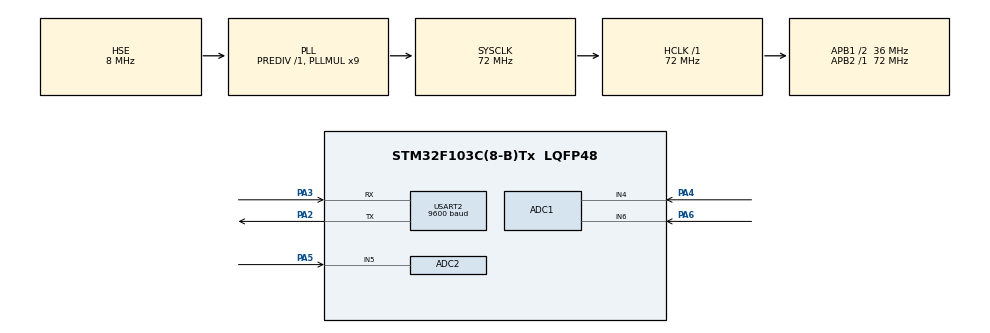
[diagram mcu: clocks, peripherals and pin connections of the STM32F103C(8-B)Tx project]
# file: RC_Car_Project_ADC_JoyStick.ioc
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ADC1.Channel-0\#ChannelRegularConversion=ADC_CHANNEL_5
ADC1.Channel-1\#ChannelRegularConversion=ADC_CHANNEL_4
ADC1.Channel-2\#ChannelRegularConversion=ADC_CHANNEL_6
ADC1.ContinuousConvMode=ENABLE
ADC1.NbrOfConversion=3
ADC1.NbrOfConversionFlag=1
ADC1.Rank-0\#ChannelRegularConversion=1
ADC1.Rank-1\#ChannelRegularConversion=2
ADC1.Rank-2\#ChannelRegularConversion=3
ADC1.SamplingTime-0\#ChannelRegularConversion=ADC_SAMPLETIME_239CYCLES_5
ADC1.SamplingTime-1\#ChannelRegularConversion=ADC_SAMPLETIME_239CYCLES_5
ADC1.SamplingTime-2\#ChannelRegularConversion=ADC_SAMPLETIME_239CYCLES_5
ADC1.master=1
ADC2.Channel-0\#ChannelRegularConversion=ADC_CHANNEL_5
ADC2.ContinuousConvMode=ENABLE
ADC2.NbrOfConversionFlag=1
ADC2.Rank-0\#ChannelRegularConversion=1
ADC2.SamplingTime-0\#ChannelRegularConversion=ADC_SAMPLETIME_239CYCLES_5
Dma.ADC1.0.Direction=DMA_PERIPH_TO_MEMORY
Dma.ADC1.0.Instance=DMA1_Channel1
Dma.ADC1.0.MemDataAlignment=DMA_MDATAALIGN_HALFWORD
Dma.ADC1.0.MemInc=DMA_MINC_ENABLE
Dma.ADC1.0.Mode=DMA_CIRCULAR
Dma.ADC1.0.PeriphDataAlignment=DMA_PDATAALIGN_HALFWORD
Dma.ADC1.0.PeriphInc=DMA_PINC_DISABLE
Dma.ADC1.0.Priority=DMA_PRIORITY_LOW
Dma.Request0=ADC1
Mcu.Family=STM32F1
Mcu.Name=STM32F103C(8-B)Tx
Mcu.Package=LQFP48
NVIC.DMA1_Channel1_IRQn=true\:0\:0\:false\:false\:true\:false\:true\:true
NVIC.PriorityGroup=NVIC_PRIORITYGROUP_4
NVIC.USART2_IRQn=true\:0\:0\:false\:false\:true\:true\:true\:true
PA13.Mode=Serial_Wire
PA13.Signal=SYS_JTMS-SWDIO
PA14.Mode=Serial_Wire
PA14.Signal=SYS_JTCK-SWCLK
PA2.Mode=Asynchronous
PA2.Signal=USART2_TX
PA3.Mode=Asynchronous
PA3.Signal=USART2_RX
PA4.Signal=ADCx_IN4
PA5.Signal=ADCx_IN5
PA6.Signal=ADCx_IN6
PD0-OSC_IN.Mode=HSE-External-Oscillator
PD0-OSC_IN.Signal=RCC_OSC_IN
PD1-OSC_OUT.Mode=HSE-External-Oscillator
PD1-OSC_OUT.Signal=RCC_OSC_OUT
ProjectManager.HeapSize=0x200
ProjectManager.StackSize=0x400
ProjectManager.TargetToolchain=STM32CubeIDE
RCC.ADCPresc=RCC_ADCPCLK2_DIV8
RCC.AHBFreq_Value=72000000
RCC.APB1CLKDivider=RCC_HCLK_DIV2
RCC.APB1Freq_Value=36000000
RCC.APB1TimFreq_Value=72000000
RCC.APB2Freq_Value=72000000
RCC.APB2TimFreq_Value=72000000
RCC.HCLKFreq_Value=72000000
RCC.PLLMUL=RCC_PLL_MUL9
RCC.PLLSourceVirtual=RCC_PLLSOURCE_HSE
RCC.SYSCLKFreq_VALUE=72000000
RCC.SYSCLKSource=RCC_SYSCLKSOURCE_PLLCLK
RCC.USBFreq_Value=72000000
SH.ADCx_IN4.0=ADC1_IN4,IN4
SH.ADCx_IN5.0=ADC2_IN5,IN5
SH.ADCx_IN5.1=ADC1_IN5,IN5
SH.ADCx_IN6.0=ADC1_IN6,IN6
USART2.BaudRate=9600
USART2.VirtualMode=VM_ASYNC
board=custom

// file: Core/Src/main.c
/* USER CODE BEGIN Header */
/**
  ******************************************************************************
  * @file           : main.c
  * @brief          : Main program body
  ******************************************************************************
  * @attention
  *
  * Copyright (c) 2024 STMicroelectronics.
  * All rights reserved.
  *
  * This software is licensed under terms that can be found in the LICENSE file
  * in the root directory of this software component.
  * If no LICENSE file comes with this software, it is provided AS-IS.
  *
  ******************************************************************************
  */
/* USER CODE END Header */
#include "main.h"
#include "adc.h"
#include "dma.h"
#include "usart.h"
#include "gpio.h"

/* USER CODE BEGIN PV */
uint8_t txData[1];
volatile uint16_t joyStick[3];
/* USER CODE END PV */

void SystemClock_Config(void);

int main(void)
{

  /* MCU Configuration--------------------------------------------------------*/

  /* Reset of all peripherals, Initializes the Flash interface and the Systick. */
  HAL_Init();

  /* Configure the system clock */
  SystemClock_Config();

  /* Initialize all configured peripherals */
  MX_GPIO_Init();
  MX_DMA_Init();
  MX_ADC1_Init();
  MX_ADC2_Init();
  MX_USART2_UART_Init();
  /* USER CODE BEGIN 2 */
  HAL_ADC_Start_DMA(&hadc1, joyStick, 3);

  /* USER CODE END 2 */

  /* Infinite loop */
  /* USER CODE BEGIN WHILE */
  while (1)
  {
    HAL_UART_Transmit(&huart2, txData, 1,200);
//    HAL_Delay(500);
//    printf("adc -> LeftX: %d\r\n", joyStick[0]);
//    printf("adc -> RightY : %d\r\n", joyStick[1]);
//    printf("adc -> LeftSW : %d\r\n", joyStick[2]);

     if(joyStick[0] > 1900 && joyStick[0] < 2000)
     {
       txData[0] = 'i';
     }
     if(joyStick[0] > 3000 && joyStick[0] <= 4050)
     {
       txData[0] = 'f';
     }
     if(joyStick[0] >= 0 && joyStick[0] < 1800)
     {
       txData[0] = 'b';
     }
     if(joyStick[1] > 3000 && joyStick[1] <= 4050)
     {
       txData[0] = 'l';
     }
     if(joyStick[1] >= 0 && joyStick[1] < 1800)
     {
       txData[0] = 'r';
     }
     if(joyStick[2] == 0)
     {
       txData[0] = 's';
     }

    /* USER CODE END WHILE */

  }
}

void SystemClock_Config(void)
{
  RCC_OscInitTypeDef RCC_OscInitStruct = {0};
  RCC_ClkInitTypeDef RCC_ClkInitStruct = {0};
  RCC_PeriphCLKInitTypeDef PeriphClkInit = {0};

  /** Initializes the RCC Oscillators according to the specified parameters
  * in the RCC_OscInitTypeDef structure.
  */
  RCC_OscInitStruct.OscillatorType = RCC_OSCILLATORTYPE_HSE;
  RCC_OscInitStruct.HSEState = RCC_HSE_ON;
  RCC_OscInitStruct.HSEPredivValue = RCC_HSE_PREDIV_DIV1;
  RCC_OscInitStruct.HSIState = RCC_HSI_ON;
  RCC_OscInitStruct.PLL.PLLState = RCC_PLL_ON;
  RCC_OscInitStruct.PLL.PLLSource = RCC_PLLSOURCE_HSE;
  RCC_OscInitStruct.PLL.PLLMUL = RCC_PLL_MUL9;
  if (HAL_RCC_OscConfig(&RCC_OscInitStruct) != HAL_OK)
  {
    Error_Handler();
  }

  /** Initializes the CPU, AHB and APB buses clocks
  */
  RCC_ClkInitStruct.ClockType = RCC_CLOCKTYPE_HCLK|RCC_CLOCKTYPE_SYSCLK
                              |RCC_CLOCKTYPE_PCLK1|RCC_CLOCKTYPE_PCLK2;
  RCC_ClkInitStruct.SYSCLKSource = RCC_SYSCLKSOURCE_PLLCLK;
  RCC_ClkInitStruct.AHBCLKDivider = RCC_SYSCLK_DIV1;
  RCC_ClkInitStruct.APB1CLKDivider = RCC_HCLK_DIV2;
  RCC_ClkInitStruct.APB2CLKDivider = RCC_HCLK_DIV1;

  if (HAL_RCC_ClockConfig(&RCC_ClkInitStruct, FLASH_LATENCY_2) != HAL_OK)
  {
    Error_Handler();
  }
  PeriphClkInit.PeriphClockSelection = RCC_PERIPHCLK_ADC;
  PeriphClkInit.AdcClockSelection = RCC_ADCPCLK2_DIV8;
  if (HAL_RCCEx_PeriphCLKConfig(&PeriphClkInit) != HAL_OK)
  {
    Error_Handler();
  }
}

void Error_Handler(void)
{
  __disable_irq();
  while (1)
  {
  }
}
